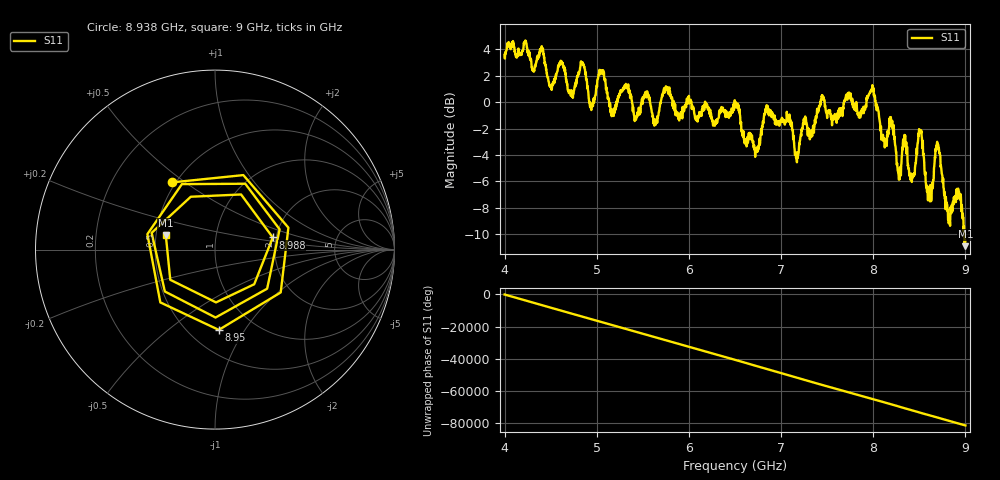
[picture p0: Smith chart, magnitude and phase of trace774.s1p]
! Created with skrf 1.8.0 (http://scikit-rf.org).
# Hz S RI R 50.0
!freq ReS11 ImS11
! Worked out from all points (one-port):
!   1601 points, 4 GHz to 9 GHz, reference 50 ohm
!   lowest |S11| = -10.9 dB at 9 GHz (marker M1), VSWR 1.80, Z = 28.2 + j4.83 ohm
!   |S11| at or under -10 dB: 8.988975 GHz to end of sweep
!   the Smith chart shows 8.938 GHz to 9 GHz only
!   S11 on the Smith chart (normalised r, x): 8.938 GHz: 0.48, +0.45; 8.95 GHz: 0.69, -0.77; 8.988 GHz: 1.92, +0.29; 9 GHz: 0.56, +0.10
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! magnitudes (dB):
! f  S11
! 4 GHz  3.6
! 4.625 GHz  3.0
! 4.722 GHz  0.9
! 4.85 GHz  2.9
! 4.944 GHz  -0.2
! 5.047 GHz  2.3
! 5.172 GHz  -0.9
! 5.25 GHz  0.6
! 5.875 GHz  -0.8
! 6.5 GHz  0.0
! 6.728 GHz  -3.5
! 6.847 GHz  -0.5
! 7.125 GHz  -2.2
! 7.75 GHz  0.5
! 7.994 GHz  1.1
! 8.112 GHz  -2.9
! 8.2 GHz  -1.9
! 8.278 GHz  -5.9
! 8.375 GHz  -4.8
! 8.428 GHz  -5.7
! 8.512 GHz  -2.1
! 8.606 GHz  -6.7
! 8.7 GHz  -3.3
! 8.809 GHz  -8.2
! 8.938 GHz  -7.0
! 8.95 GHz  -7.0
! 8.988 GHz  -9.7
! 9 GHz  -10.9
